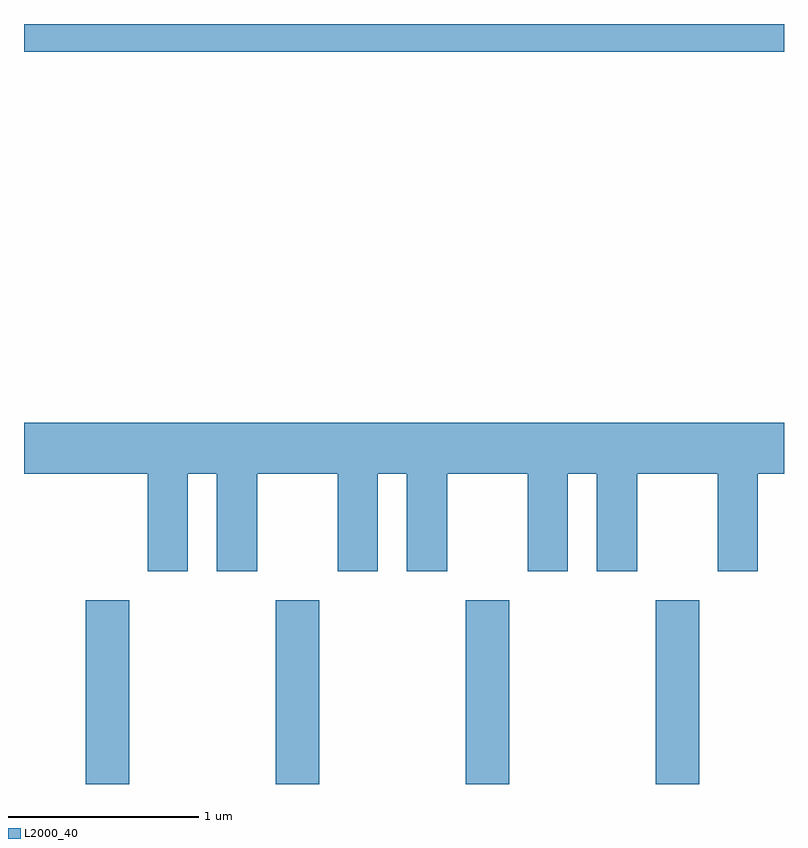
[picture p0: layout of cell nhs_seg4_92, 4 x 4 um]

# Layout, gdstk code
import gdstk
lib = gdstk.Library(unit=1e-6, precision=1e-09)
def R(c, l, rs):  # rectangles x0, y0, x1, y1
    for r in rs: c.add(gdstk.rectangle(r[:2], r[2:], *l))
def A(c, l, x, y, w, h, nx, ny, dx, dy):  # array of equal rectangles
    R(c, l, [(x+i*dx, y+j*dy, x+i*dx+w, y+j*dy+h) for i in range(nx) for j in range(ny)])
def P(c, l, *ps):  # polygons
    for p in ps: c.add(gdstk.Polygon(p, *l))
L2000_40 = (2000, 40)

nhs_seg4_92 = lib.new_cell('nhs_seg4_92')
A(nhs_seg4_92, L2000_40, 187.936, 1301.982, 0.228, 0.967, 4, 1, 1, 0)
R(nhs_seg4_92, L2000_40, [(187.611,1305.836,191.611,1305.982)])
P(nhs_seg4_92, L2000_40, [(188.474,1303.616),(188.626,1303.616),(188.626,1303.101),(188.839,1303.101),(188.839,1303.616),(189.261,1303.616),(189.261,1303.101),(189.474,1303.101),(189.474,1303.616),(189.626,1303.616),(189.626,1303.101),(189.839,1303.101),(189.839,1303.616),(190.261,1303.616),(190.261,1303.101),(190.474,1303.101),(190.474,1303.616),(190.626,1303.616),(190.626,1303.101),(190.839,1303.101),(190.839,1303.616),(191.261,1303.616),(191.261,1303.101),(191.474,1303.101),(191.474,1303.616),(191.611,1303.616),(191.611,1303.884),(187.611,1303.884),(187.611,1303.616),(188.261,1303.616),(188.261,1303.101),(188.474,1303.101)])

lib.write_gds('nhs_seg4_92.gds')
